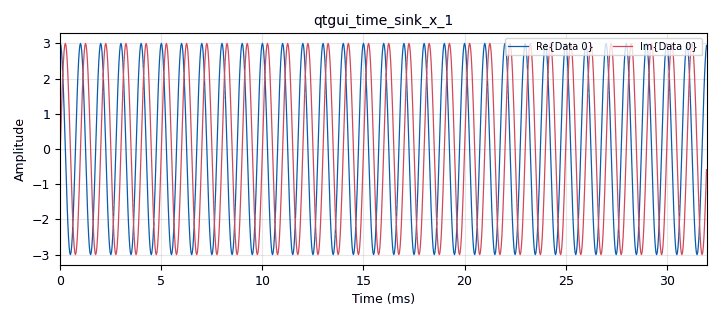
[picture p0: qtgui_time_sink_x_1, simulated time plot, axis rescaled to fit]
options:
  parameters:
    author: Aqil
    generate_options: qt_gui
    id: Praktikum1g
    output_language: python
    title: Praktikum 1
  states: {}

blocks:
- name: samp_rate
  id: variable
  parameters:
    value: '32000'
  states: {}
- name: AddingBlock_0
  id: AddingBlock
  parameters:
    samp_rate: '32000'
  states: {}
- name: analog_sig_source_x_2
  id: analog_sig_source_x
  parameters:
    amp: '1'
    freq: '1000'
    offset: '0'
    phase: '0'
    samp_rate: samp_rate
    type: complex
    waveform: analog.GR_COS_WAVE
  states: {}
- name: analog_sig_source_x_2_0
  id: analog_sig_source_x
  parameters:
    amp: '2'
    freq: '1000'
    offset: '0'
    phase: '0'
    samp_rate: samp_rate
    type: complex
    waveform: analog.GR_COS_WAVE
  states: {}
- name: analog_sig_source_x_2_0_0
  id: analog_sig_source_x
  parameters:
    amp: '1'
    freq: '1000'
    offset: '0'
    phase: '0'
    samp_rate: samp_rate
    type: complex
    waveform: analog.GR_COS_WAVE
  states: {}
- name: blocks_add_xx_0
  id: blocks_add_xx
  parameters:
    type: complex
  states: {}
- name: blocks_throttle2_1
  id: blocks_throttle2
  parameters:
    samples_per_second: samp_rate
    type: complex
  states: {}
- name: blocks_throttle2_1_0
  id: blocks_throttle2
  parameters:
    samples_per_second: samp_rate
    type: complex
  states: {}
- name: blocks_throttle2_1_0_0
  id: blocks_throttle2
  parameters:
    samples_per_second: samp_rate
    type: complex
  states: {}
- name: qtgui_time_sink_x_1
  id: qtgui_time_sink_x
  parameters:
    size: '1024'
    srate: samp_rate
    type: complex
  states: {}
- name: qtgui_time_sink_x_1_0
  id: qtgui_time_sink_x
  parameters:
    size: '1024'
    srate: samp_rate
    type: complex
  states: {}

connections:
- [AddingBlock_0, '0', qtgui_time_sink_x_1_0, '0']
- [analog_sig_source_x_2, '0', blocks_throttle2_1, '0']
- [analog_sig_source_x_2_0, '0', blocks_throttle2_1_0, '0']
- [analog_sig_source_x_2_0_0, '0', blocks_throttle2_1_0_0, '0']
- [blocks_add_xx_0, '0', qtgui_time_sink_x_1, '0']
- [blocks_throttle2_1, '0', blocks_add_xx_0, '0']
- [blocks_throttle2_1_0, '0', blocks_add_xx_0, '1']
- [blocks_throttle2_1_0_0, '0', AddingBlock_0, '0']

metadata:
  file_format: 1
  grc_version: 3.10.12.0
